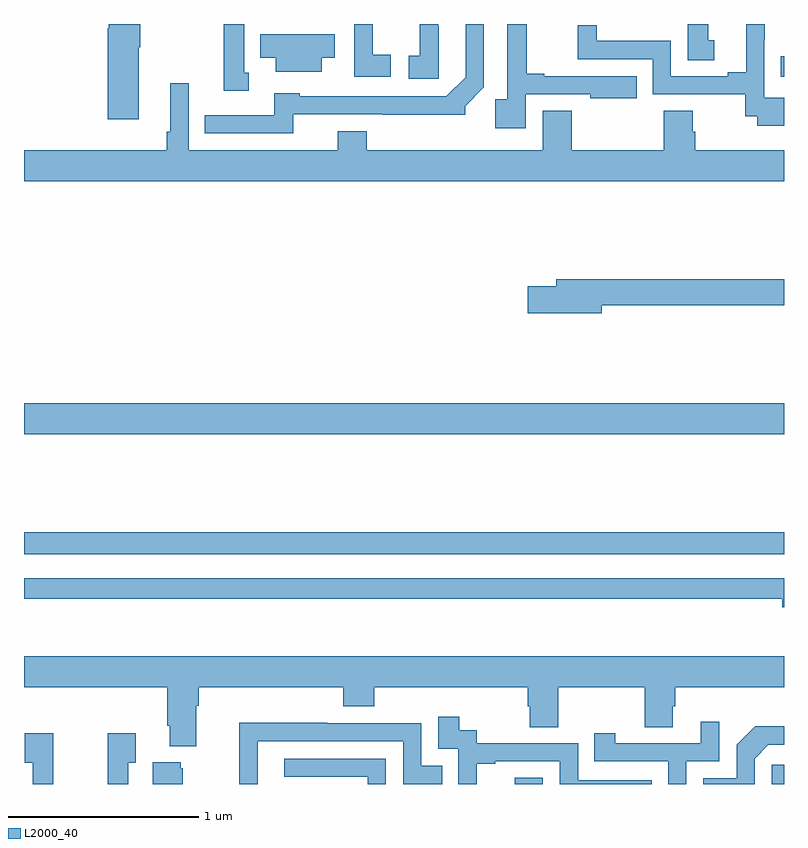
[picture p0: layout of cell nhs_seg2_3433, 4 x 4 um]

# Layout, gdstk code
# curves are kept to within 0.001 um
import gdstk
lib = gdstk.Library(unit=1e-6, precision=1e-09)
def R(c, l, rs):  # rectangles x0, y0, x1, y1
    for r in rs: c.add(gdstk.rectangle(r[:2], r[2:], *l))
def P(c, l, *ps):  # polygons
    for p in ps: c.add(gdstk.Polygon(p, *l))
L2000_40 = (2000, 40)

nhs_seg2_3433 = lib.new_cell('nhs_seg2_3433')
R(nhs_seg2_3433, L2000_40, [(293.583,641.8,293.73,641.833), (294.936,641.8,295,641.902), (291,643.008,295,643.124), (291,643.64,295,643.804), (294.982,645.522,295,645.631)])
P(nhs_seg2_3433, L2000_40, [(291.604,645.677),(291.612,645.677),(291.612,645.8),(291.446,645.8),(291.446,645.777),(291.44,645.777),(291.44,645.3),(291.604,645.3)],
  [(292.93,645.638),(292.836,645.638),(292.836,645.8),(292.737,645.8),(292.737,645.522),(292.93,645.522)],
  [(292.183,645.543),(292.158,645.543),(292.158,645.8),(292.05,645.8),(292.05,645.449),(292.183,645.449)],
  [(295,645.411),(294.897,645.411),(294.897,645.715),(294.899,645.715),(294.899,645.8),(294.8,645.8),(294.8,645.545),(294.704,645.545),(294.704,645.525),(294.405,645.525),(294.405,645.711),(294.015,645.711),(294.015,645.793),(293.914,645.793),(293.914,645.615),(294.309,645.615),(294.309,645.429),(294.796,645.429),(294.796,645.315),(294.859,645.315),(294.859,645.264),(295,645.264)],
  [(294.634,645.714),(294.601,645.714),(294.601,645.8),(294.494,645.8),(294.494,645.61),(294.634,645.61)],
  [(293.64,645.429),(293.981,645.429),(293.981,645.41),(294.224,645.41),(294.224,645.525),(293.737,645.525),(293.737,645.538),(293.645,645.538),(293.645,645.8),(293.544,645.8),(293.544,645.403),(293.479,645.403),(293.479,645.252),(293.64,645.252)],
  [(292.416,645.324),(293.322,645.323),(293.322,645.367),(293.421,645.466),(293.421,645.8),(293.324,645.8),(293.324,645.521),(293.223,645.42),(292.452,645.42),(292.452,645.436),(292.316,645.436),(292.316,645.321),(291.952,645.321),(291.952,645.225),(292.416,645.225)],
  [(293.182,645.788),(293.181,645.788),(293.181,645.8),(293.083,645.8),(293.083,645.633),(293.025,645.633),(293.025,645.513),(293.182,645.513)],
  [(292.567,645.623),(292.636,645.623),(292.636,645.745),(292.243,645.745),(292.243,645.623),(292.325,645.623),(292.325,645.548),(292.567,645.548)],
  [(294.52,645.234),(294.52,645.344),(294.368,645.344),(294.368,645.136),(293.882,645.136),(293.882,645.344),(293.729,645.344),(293.729,645.136),(292.805,645.136),(292.805,645.235),(292.652,645.235),(292.652,645.136),(291.867,645.136),(291.867,645.487),(291.77,645.487),(291.77,645.232),(291.751,645.232),(291.751,645.136),(291,645.136),(291,644.972),(295,644.972),(295,645.136),(294.533,645.136),(294.533,645.234)],
  [(294.04,644.32),(295,644.32),(295,644.456),(293.801,644.456),(293.801,644.42),(293.652,644.42),(293.652,644.278),(294.04,644.278)],
  [(295,642.882),(291,642.882),(291,642.774),(294.992,642.774),(294.992,642.731),(295,642.731)],
  [(291.907,642.212),(291.92,642.212),(291.92,642.308),(292.679,642.308),(292.679,642.209),(292.844,642.209),(292.844,642.308),(293.651,642.308),(293.651,642.21),(293.663,642.21),(293.663,642.1),(293.811,642.1),(293.811,642.308),(294.268,642.308),(294.268,642.1),(294.415,642.1),(294.415,642.21),(294.428,642.21),(294.428,642.308),(295,642.308),(295,642.472),(291,642.472),(291,642.308),(291.755,642.308),(291.755,642.106),(291.767,642.106),(291.767,641.999),(291.907,641.999)],
  [(293.384,641.907),(293.479,641.907),(293.479,641.919),(293.82,641.919),(293.82,641.8),(294.305,641.8),(294.305,641.82),(293.916,641.82),(293.916,642.015),(293.382,642.015),(293.382,642.084),(293.29,642.084),(293.29,642.154),(293.181,642.154),(293.181,641.985),(293.286,641.985),(293.286,641.8),(293.384,641.8)],
  [(294.486,641.919),(294.66,641.919),(294.66,642.127),(294.563,642.127),(294.563,642.015),(294.112,642.015),(294.112,642.067),(294.001,642.067),(294.001,641.919),(294.39,641.919),(294.39,641.8),(294.486,641.8)],
  [(292.23,642.024),(292.995,642.024),(292.995,641.8),(293.201,641.8),(293.201,641.895),(293.091,641.895),(293.091,642.12),(292.595,642.12),(292.595,642.122),(292.132,642.122),(292.132,641.815),(292.134,641.815),(292.134,641.8),(292.23,641.8)],
  [(294.846,641.934),(294.918,642.006),(295,642.006),(295,642.104),(294.848,642.104),(294.75,642.006),(294.75,641.829),(294.576,641.829),(294.576,641.8),(294.846,641.8)],
  [(291.549,641.911),(291.589,641.911),(291.589,642.067),(291.441,642.067),(291.441,641.8),(291.549,641.8)],
  [(291.154,642.067),(291.005,642.067),(291.005,641.911),(291.045,641.911),(291.045,641.8),(291.154,641.8)],
  [(292.905,641.934),(292.371,641.934),(292.371,641.838),(292.809,641.838),(292.809,641.8),(292.905,641.8)],
  [(291.835,641.883),(291.824,641.883),(291.824,641.914),(291.677,641.914),(291.677,641.8),(291.835,641.8)])

lib.write_gds('nhs_seg2_3433.gds')
